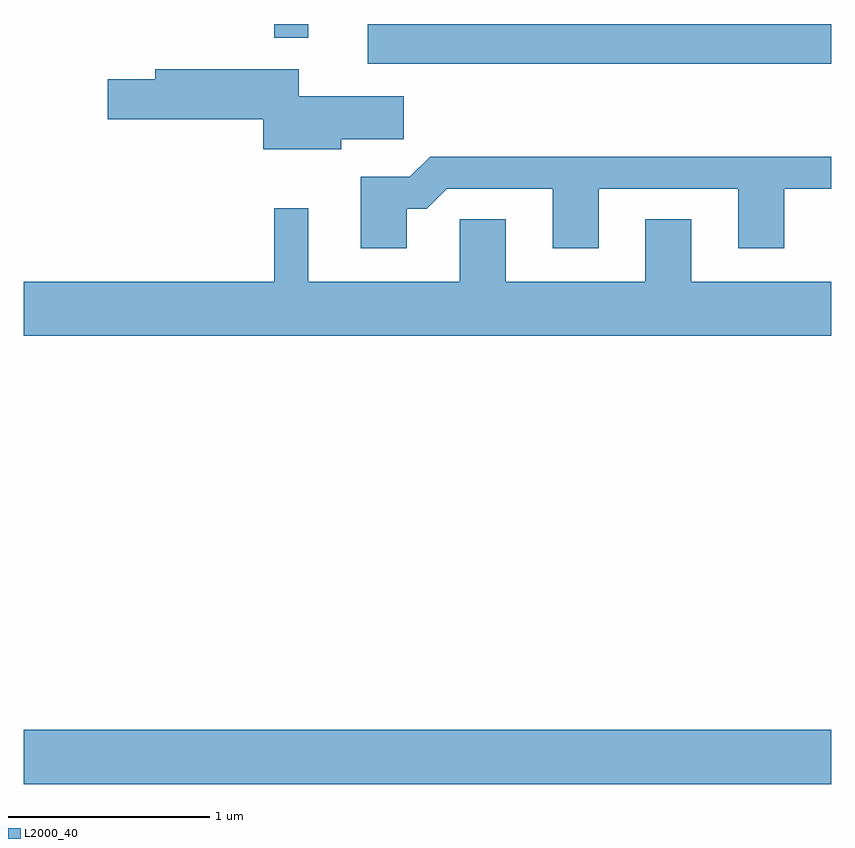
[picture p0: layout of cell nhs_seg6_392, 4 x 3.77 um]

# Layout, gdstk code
import gdstk
lib = gdstk.Library(unit=1e-6, precision=1e-09)
def R(c, l, rs):  # rectangles x0, y0, x1, y1
    for r in rs: c.add(gdstk.rectangle(r[:2], r[2:], *l))
def P(c, l, *ps):  # polygons
    for p in ps: c.add(gdstk.Polygon(p, *l))
L2000_40 = (2000, 40)

nhs_seg6_392 = lib.new_cell('nhs_seg6_392')
R(nhs_seg6_392, L2000_40, [(195.611,1634.396,199.611,1634.664), (197.316,1637.966,199.611,1638.162), (196.851,1638.093,197.019,1638.162)])
P(nhs_seg6_392, L2000_40, [(197.184,1637.591),(197.494,1637.591),(197.494,1637.804),(196.974,1637.804),(196.974,1637.939),(196.261,1637.939),(196.261,1637.889),(196.026,1637.889),(196.026,1637.691),(196.796,1637.691),(196.796,1637.541),(197.184,1637.541)],
  [(197.509,1637.246),(197.607,1637.246),(197.707,1637.346),(198.231,1637.346),(198.231,1637.051),(198.459,1637.051),(198.459,1637.346),(199.151,1637.346),(199.151,1637.051),(199.379,1637.051),(199.379,1637.346),(199.611,1637.346),(199.611,1637.504),(197.624,1637.504),(197.524,1637.404),(197.281,1637.404),(197.281,1637.051),(197.509,1637.051)],
  [(199.611,1636.884),(198.919,1636.884),(198.919,1637.194),(198.691,1637.194),(198.691,1636.884),(197.999,1636.884),(197.999,1637.194),(197.771,1637.194),(197.771,1636.884),(197.019,1636.884),(197.019,1637.248),(196.851,1637.248),(196.851,1636.884),(195.611,1636.884),(195.611,1636.616),(199.611,1636.616)])

lib.write_gds('nhs_seg6_392.gds')
